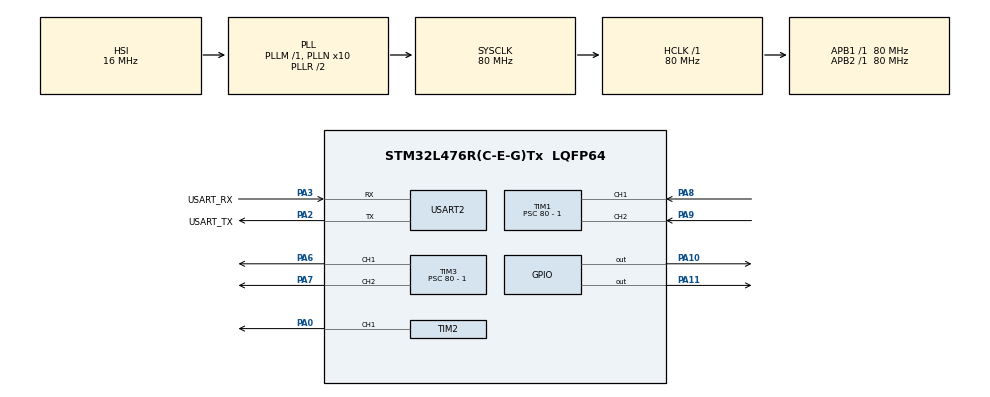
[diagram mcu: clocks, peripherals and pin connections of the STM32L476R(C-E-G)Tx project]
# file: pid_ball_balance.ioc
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Mcu.Family=STM32L4
PA2.GPIO_PuPd=GPIO_NOPULL
VP_SYS_VS_tim6.Mode=TIM6
RCC.CortexFreq_Value=80000000
NVIC.TIM6_DAC_IRQn=true\:0\:0\:false\:false\:true\:false\:false\:true
PH0-OSC_IN\ (PH0).Signal=RCC_OSC_IN
FREERTOS.Events01=xEventGroupPID,Dynamic,NULL
PA3.GPIO_PuPd=GPIO_NOPULL
PA2.GPIO_Speed=GPIO_SPEED_FREQ_VERY_HIGH
PC15-OSC32_OUT\ (PC15).Mode=LSE-External-Oscillator
PA3.GPIO_Speed=GPIO_SPEED_FREQ_VERY_HIGH
RCC.SYSCLKSource=RCC_SYSCLKSOURCE_PLLCLK
ProjectManager.StackSize=0x400
PB3\ (JTDO-TRACESWO).Signal=SYS_JTDO-SWO
PC14-OSC32_IN\ (PC14).Mode=LSE-External-Oscillator
VP_FREERTOS_VS_CMSIS_V2.Mode=CMSIS_V2
PA14\ (JTCK-SWCLK).Signal=SYS_JTCK-SWCLK
TIM1.Prescaler=80 - 1
RCC.HCLKFreq_Value=80000000
RCC.APB2TimFreq_Value=80000000
TIM3.Period=60000 - 1
RCC.AHBFreq_Value=80000000
RCC.PREFETCH_ENABLE=1
TIM3.Channel-PWM\ Generation1\ CH1=TIM_CHANNEL_1
RCC.HSE_VALUE=8000000
USART2.VirtualMode-Asynchronous=VM_ASYNC
TIM3.Prescaler=80 - 1
PA8.Signal=S_TIM1_CH1
TIM2.Channel-PWM\ Generation1\ CH1=TIM_CHANNEL_1
SH.S_TIM3_CH1.0=TIM3_CH1,PWM Generation1 CH1
TIM1.Channel-Input_Capture2_from_TI2=TIM_CHANNEL_2
PA0.Signal=S_TIM2_CH1
Mcu.Package=LQFP64
TIM2.Prescaler=80 - 1
PA6.Signal=S_TIM3_CH1
NVIC.TimeBase=TIM6_DAC_IRQn
PA2.GPIO_Label=USART_TX
NVIC.TimeBaseIP=TIM6
PA10.Signal=GPIO_Output
TIM1.ICPolarity_CH2=TIM_INPUTCHANNELPOLARITY_BOTHEDGE
RCC.APB1TimFreq_Value=80000000
TIM1.ICPolarity_CH1=TIM_INPUTCHANNELPOLARITY_BOTHEDGE
PA13\ (JTMS-SWDIO).Signal=SYS_JTMS-SWDIO
PA3.Signal=USART2_RX
PA2.GPIO_Mode=GPIO_MODE_AF_PP
RCC.MSI_VALUE=4000000
RCC.PLLSourceVirtual=RCC_PLLSOURCE_HSI
PA14\ (JTCK-SWCLK).Mode=Serial_Wire
SH.S_TIM2_CH1.0=TIM2_CH1,PWM Generation1 CH1
FREERTOS.Tasks01=xServo,40,128,StartServoTask,Default,NULL,Dynamic,NULL,NULL;pidCalculate,32,128,StartPIDCalculateTask,Default,NULL,Dynamic,NULL,NULL
PC15-OSC32_OUT\ (PC15).Signal=RCC_OSC32_OUT
PA14\ (JTCK-SWCLK).GPIO_Label=TCK
PB3\ (JTDO-TRACESWO).GPIO_Label=SWO
PH1-OSC_OUT\ (PH1).Signal=RCC_OSC_OUT
PA3.Mode=Asynchronous
SH.S_TIM1_CH1.0=TIM1_CH1,Input_Capture1_from_TI1
ProjectManager.TargetToolchain=STM32CubeIDE
PA3.GPIO_Mode=GPIO_MODE_AF_PP
PA9.Signal=S_TIM1_CH2
RCC.USBFreq_Value=64000000
SH.S_TIM3_CH2.0=TIM3_CH2,PWM Generation2 CH2
board=NUCLEO-L476RG
RCC.VCOOutputFreq_Value=160000000
NVIC.TIM3_IRQn=true\:5\:0\:false\:false\:true\:true\:true\:true
RCC.APB2Freq_Value=80000000
PA13\ (JTMS-SWDIO).GPIO_Label=TMS
SH.S_TIM1_CH2.0=TIM1_CH2,Input_Capture2_from_TI2
VP_TIM2_VS_ClockSourceINT.Mode=Internal
RCC.ADCFreq_Value=64000000
TIM2.Period=3000 - 1
Mcu.Name=STM32L476R(C-E-G)Tx
PA2.Signal=USART2_TX
NVIC.TIM1_CC_IRQn=true\:5\:0\:false\:false\:true\:true\:true\:true
PA13\ (JTMS-SWDIO).Mode=Serial_Wire
RCC.SYSCLKFreq_VALUE=80000000
TIM1.Channel-Input_Capture1_from_TI1=TIM_CHANNEL_1
PC14-OSC32_IN\ (PC14).Signal=RCC_OSC32_IN
PA11.Signal=GPIO_Output
ProjectManager.HeapSize=0x200
RCC.HSI_VALUE=16000000
NVIC.PriorityGroup=NVIC_PRIORITYGROUP_4
TIM3.Channel-PWM\ Generation2\ CH2=TIM_CHANNEL_2
RCC.PLLN=10
PA2.Mode=Asynchronous
RCC.APB1Freq_Value=80000000
PA3.GPIO_Label=USART_RX
PA7.Signal=S_TIM3_CH2

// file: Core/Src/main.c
/* USER CODE BEGIN Header */
/**
  ******************************************************************************
  * @file           : main.c
  * @brief          : Main program body
  ******************************************************************************
  * @attention
  *
  * <h2><center>&copy; Copyright (c) 2021 STMicroelectronics.
  * All rights reserved.</center></h2>
  *
  * This software component is licensed by ST under BSD 3-Clause license,
  * the "License"; You may not use this file except in compliance with the
  * License. You may obtain a copy of the License at:
  *                        opensource.org/licenses/BSD-3-Clause
  *
  ******************************************************************************
  */
/* USER CODE END Header */
#include "main.h"
#include "cmsis_os.h"

/* USER CODE BEGIN Includes */
#include <stdio.h>
/* USER CODE END Includes */

/* USER CODE BEGIN PTD */
#ifdef __GNUC__
	#define PUTCHAR_PROTOTYPE int __io_putchar(int ch)
#else
	#define PUTCHAR_PROTOTYPE int fputc(int ch, FILE *f)
#endif /* __GNUC__ */
/* USER CODE END PTD */

TIM_HandleTypeDef htim1;
TIM_HandleTypeDef htim2;
TIM_HandleTypeDef htim3;

UART_HandleTypeDef huart2;

/* Definitions for xServo */
osThreadId_t xServoHandle;
const osThreadAttr_t xServo_attributes = {
  .name = "xServo",
  .stack_size = 128 * 4,
  .priority = (osPriority_t) osPriorityHigh,
};
/* Definitions for pidCalculate */
osThreadId_t pidCalculateHandle;
const osThreadAttr_t pidCalculate_attributes = {
  .name = "pidCalculate",
  .stack_size = 128 * 4,
  .priority = (osPriority_t) osPriorityAboveNormal,
};
/* Definitions for xEventGroupPID */
osEventFlagsId_t xEventGroupPIDHandle;
const osEventFlagsAttr_t xEventGroupPID_attributes = {
  .name = "xEventGroupPID"
};

void SystemClock_Config(void);
static void MX_GPIO_Init(void);
static void MX_USART2_UART_Init(void);
static void MX_TIM1_Init(void);
static void MX_TIM2_Init(void);
static void MX_TIM3_Init(void);
void StartServoTask(void *argument);
void StartPIDCalculateTask(void *argument);

/* USER CODE BEGIN 0 */

#define MAX(a,b) ((a) > (b) ? (a) : (b))
#define MIN(a,b) ((a) < (b) ? (a) : (b))

#define mainULTRASONIC_COMMANDED_ISR_BIT (1UL << 0UL)
#define mainULTRASONIC_CONTROLLED_ISR_BIT (1UL << 1UL)

typedef enum
{
	CAPTURE_RISING_EDGE,
	CAPTURE_FALLING_EDGE,
} UltrasonicState_t;

typedef struct
{
	struct
	{
		GPIO_TypeDef *pxPort;
		uint16_t uPin;
	};

	uint32_t ulICValRise;
	uint32_t ulICValFall;
	uint32_t ulPulseWidthMS;
	float fDistanceCM;
	UltrasonicState_t eUltrasonicState;
} UltrasonicSensor_t;

// Input
volatile UltrasonicSensor_t xUltrasonicSensorCommanded =
{
		.pxPort = GPIOA,
		.uPin = GPIO_PIN_10,
		.ulICValRise = 0UL,
		.ulICValFall = 0UL,
		.ulPulseWidthMS = 0UL,
		.fDistanceCM = 0UL,
		.eUltrasonicState = CAPTURE_RISING_EDGE
};

// Controlled variable
volatile UltrasonicSensor_t xUltrasonicSensorControlled =
{
		.pxPort = GPIOA,
		.uPin = GPIO_PIN_11,
		.ulICValRise = 0UL,
		.ulICValFall = 0UL,
		.ulPulseWidthMS = 0UL,
		.fDistanceCM = 0UL,
		.eUltrasonicState = CAPTURE_RISING_EDGE
};

static void updateUltrasonicSensor(volatile UltrasonicSensor_t *ultrasonicSensor, uint32_t captureVal)
{
	if (ultrasonicSensor->eUltrasonicState == CAPTURE_RISING_EDGE)
	{
		ultrasonicSensor->ulICValRise = captureVal;
		ultrasonicSensor->eUltrasonicState = CAPTURE_FALLING_EDGE;
	}
	else if (ultrasonicSensor->eUltrasonicState == CAPTURE_FALLING_EDGE)
	{
		ultrasonicSensor->ulICValFall = captureVal;
		if (ultrasonicSensor->ulICValFall >= ultrasonicSensor->ulICValRise)
		{
			ultrasonicSensor->ulPulseWidthMS = ultrasonicSensor->ulICValFall - ultrasonicSensor->ulICValRise;
		}
		else
		{
			ultrasonicSensor->ulPulseWidthMS = (0xFFFF - ultrasonicSensor->ulICValRise) + ultrasonicSensor->ulICValFall;
		}
		//ultrasonicSensor->fDistanceCM = (float)ultrasonicSensor->ulPulseWidthMS / 58.30875f;
		ultrasonicSensor->eUltrasonicState = CAPTURE_RISING_EDGE;
	}
}

void HAL_TIM_IC_CaptureCallback(TIM_HandleTypeDef *htim)
{
	uint32_t captureVal;
	switch((intptr_t)htim->Instance)
	{
	case (intptr_t)TIM1:
		switch((uint32_t)htim->Channel)
		{
		case (uint32_t)HAL_TIM_ACTIVE_CHANNEL_1:
			captureVal = HAL_TIM_ReadCapturedValue(htim, TIM_CHANNEL_1);
			updateUltrasonicSensor(&xUltrasonicSensorCommanded, captureVal);

			// Pulse width entirely captured, so set event group/flag
			if (xUltrasonicSensorCommanded.eUltrasonicState == CAPTURE_RISING_EDGE)
			{
				osEventFlagsSet(xEventGroupPIDHandle, mainULTRASONIC_COMMANDED_ISR_BIT);
			}
			break;
		case (uint32_t)HAL_TIM_ACTIVE_CHANNEL_2:
			captureVal = HAL_TIM_ReadCapturedValue(htim, TIM_CHANNEL_2);
			updateUltrasonicSensor(&xUltrasonicSensorControlled, captureVal);

			// Pulse width entirely captured, so set event group/flag
			if (xUltrasonicSensorControlled.eUltrasonicState == CAPTURE_RISING_EDGE)
			{
				osEventFlagsSet(xEventGroupPIDHandle, mainULTRASONIC_CONTROLLED_ISR_BIT);
			}
			break;
		}
		break;
	}
}

float rollingAverage(float average, float newSample, int8_t n)
{
	average -= average/n;
	average += newSample/n;

	return average;
}

/* USER CODE END 0 */

int main(void)
{

  /* MCU Configuration--------------------------------------------------------*/

  /* Reset of all peripherals, Initializes the Flash interface and the Systick. */
  HAL_Init();

  /* Configure the system clock */
  SystemClock_Config();

  /* Initialize all configured peripherals */
  MX_GPIO_Init();
  MX_USART2_UART_Init();
  MX_TIM1_Init();
  MX_TIM2_Init();
  MX_TIM3_Init();
  /* USER CODE BEGIN 2 */

  // Start input capture in interrupt mode
  HAL_TIM_IC_Start_IT(&htim1, TIM_CHANNEL_1);
  HAL_TIM_IC_Start_IT(&htim1, TIM_CHANNEL_2);

  // Start PWM for servo
  HAL_TIM_PWM_Start(&htim2, TIM_CHANNEL_1);
  HAL_TIM_PWM_Start(&htim3, TIM_CHANNEL_1);
  HAL_TIM_PWM_Start(&htim3, TIM_CHANNEL_2);

	htim3.Instance->CCR1 = 10;
	htim3.Instance->CCR2 = 10;

  /* USER CODE END 2 */

  /* Init scheduler */
  osKernelInitialize();

  /* Create the thread(s) */
  /* creation of xServo */
  //xServoHandle = osThreadNew(StartServoTask, NULL, &xServo_attributes);

  /* creation of pidCalculate */
  pidCalculateHandle = osThreadNew(StartPIDCalculateTask, NULL, &pidCalculate_attributes);

  /* Create the event(s) */
  /* creation of xEventGroupPID */
  xEventGroupPIDHandle = osEventFlagsNew(&xEventGroupPID_attributes);

  /* Start scheduler */
  osKernelStart();

  /* We should never get here as control is now taken by the scheduler */
  /* Infinite loop */
  	  while (1)
  	  {

  	  }
}

void SystemClock_Config(void)
{
  RCC_OscInitTypeDef RCC_OscInitStruct = {0};
  RCC_ClkInitTypeDef RCC_ClkInitStruct = {0};
  RCC_PeriphCLKInitTypeDef PeriphClkInit = {0};

  /** Initializes the RCC Oscillators according to the specified parameters
  * in the RCC_OscInitTypeDef structure.
  */
  RCC_OscInitStruct.OscillatorType = RCC_OSCILLATORTYPE_HSI;
  RCC_OscInitStruct.HSIState = RCC_HSI_ON;
  RCC_OscInitStruct.HSICalibrationValue = RCC_HSICALIBRATION_DEFAULT;
  RCC_OscInitStruct.PLL.PLLState = RCC_PLL_ON;
  RCC_OscInitStruct.PLL.PLLSource = RCC_PLLSOURCE_HSI;
  RCC_OscInitStruct.PLL.PLLM = 1;
  RCC_OscInitStruct.PLL.PLLN = 10;
  RCC_OscInitStruct.PLL.PLLP = RCC_PLLP_DIV7;
  RCC_OscInitStruct.PLL.PLLQ = RCC_PLLQ_DIV2;
  RCC_OscInitStruct.PLL.PLLR = RCC_PLLR_DIV2;
  if (HAL_RCC_OscConfig(&RCC_OscInitStruct) != HAL_OK)
  {
    Error_Handler();
  }
  /** Initializes the CPU, AHB and APB buses clocks
  */
  RCC_ClkInitStruct.ClockType = RCC_CLOCKTYPE_HCLK|RCC_CLOCKTYPE_SYSCLK
                              |RCC_CLOCKTYPE_PCLK1|RCC_CLOCKTYPE_PCLK2;
  RCC_ClkInitStruct.SYSCLKSource = RCC_SYSCLKSOURCE_PLLCLK;
  RCC_ClkInitStruct.AHBCLKDivider = RCC_SYSCLK_DIV1;
  RCC_ClkInitStruct.APB1CLKDivider = RCC_HCLK_DIV1;
  RCC_ClkInitStruct.APB2CLKDivider = RCC_HCLK_DIV1;

  if (HAL_RCC_ClockConfig(&RCC_ClkInitStruct, FLASH_LATENCY_4) != HAL_OK)
  {
    Error_Handler();
  }
  PeriphClkInit.PeriphClockSelection = RCC_PERIPHCLK_USART2;
  PeriphClkInit.Usart2ClockSelection = RCC_USART2CLKSOURCE_PCLK1;
  if (HAL_RCCEx_PeriphCLKConfig(&PeriphClkInit) != HAL_OK)
  {
    Error_Handler();
  }
  /** Configure the main internal regulator output voltage
  */
  if (HAL_PWREx_ControlVoltageScaling(PWR_REGULATOR_VOLTAGE_SCALE1) != HAL_OK)
  {
    Error_Handler();
  }
}

static void MX_TIM1_Init(void)
{

  TIM_MasterConfigTypeDef sMasterConfig = {0};
  TIM_IC_InitTypeDef sConfigIC = {0};

  htim1.Instance = TIM1;
  htim1.Init.Prescaler = 80 - 1;
  htim1.Init.CounterMode = TIM_COUNTERMODE_UP;
  htim1.Init.Period = 65535;
  htim1.Init.ClockDivision = TIM_CLOCKDIVISION_DIV1;
  htim1.Init.RepetitionCounter = 0;
  htim1.Init.AutoReloadPreload = TIM_AUTORELOAD_PRELOAD_DISABLE;
  if (HAL_TIM_IC_Init(&htim1) != HAL_OK)
  {
    Error_Handler();
  }
  sMasterConfig.MasterOutputTrigger = TIM_TRGO_RESET;
  sMasterConfig.MasterOutputTrigger2 = TIM_TRGO2_RESET;
  sMasterConfig.MasterSlaveMode = TIM_MASTERSLAVEMODE_DISABLE;
  if (HAL_TIMEx_MasterConfigSynchronization(&htim1, &sMasterConfig) != HAL_OK)
  {
    Error_Handler();
  }
  sConfigIC.ICPolarity = TIM_INPUTCHANNELPOLARITY_BOTHEDGE;
  sConfigIC.ICSelection = TIM_ICSELECTION_DIRECTTI;
  sConfigIC.ICPrescaler = TIM_ICPSC_DIV1;
  sConfigIC.ICFilter = 0;
  if (HAL_TIM_IC_ConfigChannel(&htim1, &sConfigIC, TIM_CHANNEL_1) != HAL_OK)
  {
    Error_Handler();
  }
  if (HAL_TIM_IC_ConfigChannel(&htim1, &sConfigIC, TIM_CHANNEL_2) != HAL_OK)
  {
    Error_Handler();
  }

}

static void MX_TIM2_Init(void)
{

  TIM_ClockConfigTypeDef sClockSourceConfig = {0};
  TIM_MasterConfigTypeDef sMasterConfig = {0};
  TIM_OC_InitTypeDef sConfigOC = {0};

  htim2.Instance = TIM2;
  htim2.Init.Prescaler = 80 - 1;
  htim2.Init.CounterMode = TIM_COUNTERMODE_UP;
  htim2.Init.Period = 3000 - 1;
  htim2.Init.ClockDivision = TIM_CLOCKDIVISION_DIV1;
  htim2.Init.AutoReloadPreload = TIM_AUTORELOAD_PRELOAD_DISABLE;
  if (HAL_TIM_Base_Init(&htim2) != HAL_OK)
  {
    Error_Handler();
  }
  sClockSourceConfig.ClockSource = TIM_CLOCKSOURCE_INTERNAL;
  if (HAL_TIM_ConfigClockSource(&htim2, &sClockSourceConfig) != HAL_OK)
  {
    Error_Handler();
  }
  if (HAL_TIM_PWM_Init(&htim2) != HAL_OK)
  {
    Error_Handler();
  }
  sMasterConfig.MasterOutputTrigger = TIM_TRGO_RESET;
  sMasterConfig.MasterSlaveMode = TIM_MASTERSLAVEMODE_DISABLE;
  if (HAL_TIMEx_MasterConfigSynchronization(&htim2, &sMasterConfig) != HAL_OK)
  {
    Error_Handler();
  }
  sConfigOC.OCMode = TIM_OCMODE_PWM1;
  sConfigOC.Pulse = 0;
  sConfigOC.OCPolarity = TIM_OCPOLARITY_HIGH;
  sConfigOC.OCFastMode = TIM_OCFAST_DISABLE;
  if (HAL_TIM_PWM_ConfigChannel(&htim2, &sConfigOC, TIM_CHANNEL_1) != HAL_OK)
  {
    Error_Handler();
  }
  HAL_TIM_MspPostInit(&htim2);

}

static void MX_TIM3_Init(void)
{

  TIM_MasterConfigTypeDef sMasterConfig = {0};
  TIM_OC_InitTypeDef sConfigOC = {0};

  htim3.Instance = TIM3;
  htim3.Init.Prescaler = 80 - 1;
  htim3.Init.CounterMode = TIM_COUNTERMODE_UP;
  htim3.Init.Period = 60000 - 1;
  htim3.Init.ClockDivision = TIM_CLOCKDIVISION_DIV1;
  htim3.Init.AutoReloadPreload = TIM_AUTORELOAD_PRELOAD_DISABLE;
  if (HAL_TIM_PWM_Init(&htim3) != HAL_OK)
  {
    Error_Handler();
  }
  sMasterConfig.MasterOutputTrigger = TIM_TRGO_RESET;
  sMasterConfig.MasterSlaveMode = TIM_MASTERSLAVEMODE_DISABLE;
  if (HAL_TIMEx_MasterConfigSynchronization(&htim3, &sMasterConfig) != HAL_OK)
  {
    Error_Handler();
  }
  sConfigOC.OCMode = TIM_OCMODE_PWM1;
  sConfigOC.Pulse = 0;
  sConfigOC.OCPolarity = TIM_OCPOLARITY_HIGH;
  sConfigOC.OCFastMode = TIM_OCFAST_DISABLE;
  if (HAL_TIM_PWM_ConfigChannel(&htim3, &sConfigOC, TIM_CHANNEL_1) != HAL_OK)
  {
    Error_Handler();
  }
  if (HAL_TIM_PWM_ConfigChannel(&htim3, &sConfigOC, TIM_CHANNEL_2) != HAL_OK)
  {
    Error_Handler();
  }
  HAL_TIM_MspPostInit(&htim3);

}

static void MX_USART2_UART_Init(void)
{

  huart2.Instance = USART2;
  huart2.Init.BaudRate = 115200;
  huart2.Init.WordLength = UART_WORDLENGTH_8B;
  huart2.Init.StopBits = UART_STOPBITS_1;
  huart2.Init.Parity = UART_PARITY_NONE;
  huart2.Init.Mode = UART_MODE_TX_RX;
  huart2.Init.HwFlowCtl = UART_HWCONTROL_NONE;
  huart2.Init.OverSampling = UART_OVERSAMPLING_16;
  huart2.Init.OneBitSampling = UART_ONE_BIT_SAMPLE_DISABLE;
  huart2.AdvancedInit.AdvFeatureInit = UART_ADVFEATURE_NO_INIT;
  if (HAL_UART_Init(&huart2) != HAL_OK)
  {
    Error_Handler();
  }

}

static void MX_GPIO_Init(void)
{
  GPIO_InitTypeDef GPIO_InitStruct = {0};

  /* GPIO Ports Clock Enable */
  __HAL_RCC_GPIOC_CLK_ENABLE();
  __HAL_RCC_GPIOH_CLK_ENABLE();
  __HAL_RCC_GPIOA_CLK_ENABLE();
  __HAL_RCC_GPIOB_CLK_ENABLE();

  /*Configure GPIO pin Output Level */
  HAL_GPIO_WritePin(GPIOA, GPIO_PIN_10|GPIO_PIN_11, GPIO_PIN_RESET);

  /*Configure GPIO pins : PA10 PA11 */
  GPIO_InitStruct.Pin = GPIO_PIN_10|GPIO_PIN_11;
  GPIO_InitStruct.Mode = GPIO_MODE_OUTPUT_PP;
  GPIO_InitStruct.Pull = GPIO_NOPULL;
  GPIO_InitStruct.Speed = GPIO_SPEED_FREQ_LOW;
  HAL_GPIO_Init(GPIOA, &GPIO_InitStruct);

}

/* USER CODE BEGIN 4 */
  	PUTCHAR_PROTOTYPE
  	{
  		HAL_UART_Transmit(&huart2, (uint8_t *)&ch, 1, 10);
  		return ch;
  	}
/* USER CODE END 4 */

void StartServoTask(void *argument)
{
  /* USER CODE BEGIN 5 */
	uint8_t mode = 0;

	/* Infinite loop */
	for(;;)
	{

		/*
		if (mode == 0)
		{
			htim2.Instance->CCR1 = 2460;
		}
		else if (mode == 1)
		{
			htim2.Instance->CCR1 = 1815;
		}
		else if (mode == 2)
		{
			htim2.Instance->CCR1 = 1170;
		}
		else if (mode == 3)
		{
			htim2.Instance->CCR1 = 1815;
		}

		mode = (mode + 1) % 4;
		*/

		/*
		if (mode == 0)
		{
			htim2.Instance->CCR1 = 2015;
			osDelay(400);

		}
		else if (mode == 1)
		{
			htim2.Instance->CCR1 = 1615;
			osDelay(400);

		}
		else if (mode == 2)
		{
			htim2.Instance->CCR1 = 2015;
			osDelay(400);

		}

				mode = (mode + 1) % 3;

		 */

		/*
		if (mode == 0)
		{
			htim2.Instance->CCR1 = 2015;
			osDelay(10);
		}
		else if (mode == 1)
		{
			htim2.Instance->CCR1 = 1815;
			osDelay(10);
		}
		else if (mode == 2)
		{
			htim2.Instance->CCR1 = 1615;
			osDelay(10);
		}
		else if (mode == 3)
		{
			htim2.Instance->CCR1 = 1815;
			osDelay(10);
		}

		mode = (mode + 1) % 4;

		osDelay(400);
		*/

		/*
		if (mode == 0)
		{
			htim2.Instance->CCR1 = 1815 + 7*90;
		}
		else if (mode == 1)
		{
			htim2.Instance->CCR1 = 1815;
		}
		else if (mode == 2)
		{
			htim2.Instance->CCR1 = 1815 - 7*90;
		}
		else if (mode == 3)
		{
			htim2.Instance->CCR1 = 1815;
		}

		mode = (mode + 1) % 4;

		osDelay(1000);
		*/

		osDelay(1000);
		//printf("%lu\r\n", (uint32_t)htim2.Instance->CCR1);

		//osDelay(400);
	}
  /* USER CODE END 5 */
}

void StartPIDCalculateTask(void *argument)
{
  /* USER CODE BEGIN StartPIDCalculateTask */
  /* Infinite loop */
	const uint32_t ulFlags = mainULTRASONIC_COMMANDED_ISR_BIT | mainULTRASONIC_CONTROLLED_ISR_BIT;

	//

	/*
	const float lKP = 0.5f;
	const float lKD = 1.01f;
	 */

	/*
	const float lKP = 0.25f;
	const float lKD = 0.50f;
	 */

	/*
	const float lKP = 0.15f;
	const float lKD = 5.00f;
	if (lError - lPrevError < 100) pidD = 0;
	*/

	/*
	const float lKP = 0.15f;
	const float lKD = 5.00f;
	if (lError - lPrevError < 40) pidD = 0;
	*/

	/*
	const float lKP = 0.25f;
	const float lKD = 2.50f;
	if (lError - lPrevError < 100) pidD = 0;
*/

	/*
	const float lKP = 0.25f;
	const float lKD = 3.50f;
	 */

	/*
	const float lKP = 0.15f;
	const float lKD = 0.50f;
	const int32_t lClampD = 50;
	*/

	/*
	const float lKP = 0.35f;//0.2f;
	const float lKD = 1.25f;//1.0f;
	const int32_t lClampD = 40;
	*/

	/*
	const float lKP = 0.10f;//0.2f;
	const float lKD = 0.75f;//1.0f;
	const int32_t lClampD = 20;
	*/

	/*
	const float lKP = 0.255f;//0.2f;
	const float lKD = 2.0f;//1.0f;
	*/

	const float lKP = 0.20f;//0.2f;
	const float lKD = 1.10f;//1.0f;
	const float lKI = 0.0001f;
	const int32_t lClampD = 25;

	int32_t pidP = 0;
	int32_t pidI = 0;
	int32_t pidD = 0;
	int32_t pidTotal = 0;

	int32_t lPrevError = 0;

	int32_t lAPrevError = 0;
	int32_t lBPrevError = 0;
	int32_t lCPrevError = 0;
	int32_t lDPrevError = 0;
	int32_t lEPrevError = 0;

	float aError = 0;

  for(;;)
  {
  	if (osEventFlagsWait(xEventGroupPIDHandle, ulFlags, osFlagsWaitAll, 400) == ulFlags)
  	{
  		// Clamp sensors
  		uint32_t commandedDistance = MAX(MIN(xUltrasonicSensorCommanded.ulPulseWidthMS, 3350), 350);
  		uint32_t controlledDistance = MAX(MIN(xUltrasonicSensorControlled.ulPulseWidthMS, 3350), 350);

  		int32_t lError = (controlledDistance - commandedDistance);

  		// Filter
  		lAPrevError = lBPrevError;
  		lBPrevError = lCPrevError;
  		lCPrevError = lDPrevError;
  		lDPrevError = lEPrevError;
  		lEPrevError = lError;
  		int32_t avgDeltaError = (int32_t)(0.25f*(lEPrevError - lDPrevError) + 0.25f*(lDPrevError - lCPrevError) + 0.25f*(lCPrevError - lBPrevError) + 0.25f*(lBPrevError - lAPrevError));

  		pidP = (int32_t)(lKP * lError);

  		/*
  		 * saturation and windup
  		pidI = (int32_t)(pidI + lKI * lError);

  		if (pidI > 0)
  		{
    		pidI = MAX(pidI, 150);

  		}
  		else
  		{
    		pidI = MIN(pidI, -150);
  		}
  		*/

  		pidD = (int32_t)(lKD * (avgDeltaError)); // (time is constant)

  		if ((avgDeltaError < lClampD) && (avgDeltaError > -lClampD)) pidD = 0;

  		pidTotal = pidP + pidI + pidD;

			htim2.Instance->CCR1 = MIN(2460, MAX((1815 + pidTotal), 1170));

			lPrevError = lError;

  		//printf("Controlled: %lu\r\n", xUltrasonicSensorControlled.ulPulseWidthMS);
  		//printf("ERROR: %d\r\n", lError);
  	}
  	//osDelay(200);
  }
  /* USER CODE END StartPIDCalculateTask */
}

 /**
  * @brief  Period elapsed callback in non blocking mode
  * @note   This function is called  when TIM6 interrupt took place, inside
  * HAL_TIM_IRQHandler(). It makes a direct call to HAL_IncTick() to increment
  * a global variable "uwTick" used as application time base.
  * @param  htim : TIM handle
  * @retval None
  */
void HAL_TIM_PeriodElapsedCallback(TIM_HandleTypeDef *htim)
{
  if (htim->Instance == TIM6) {
    HAL_IncTick();
  }
}

void Error_Handler(void)
{
  __disable_irq();
  while (1)
  {
  }
}

/************************ (C) COPYRIGHT STMicroelectronics *****END OF FILE****/
